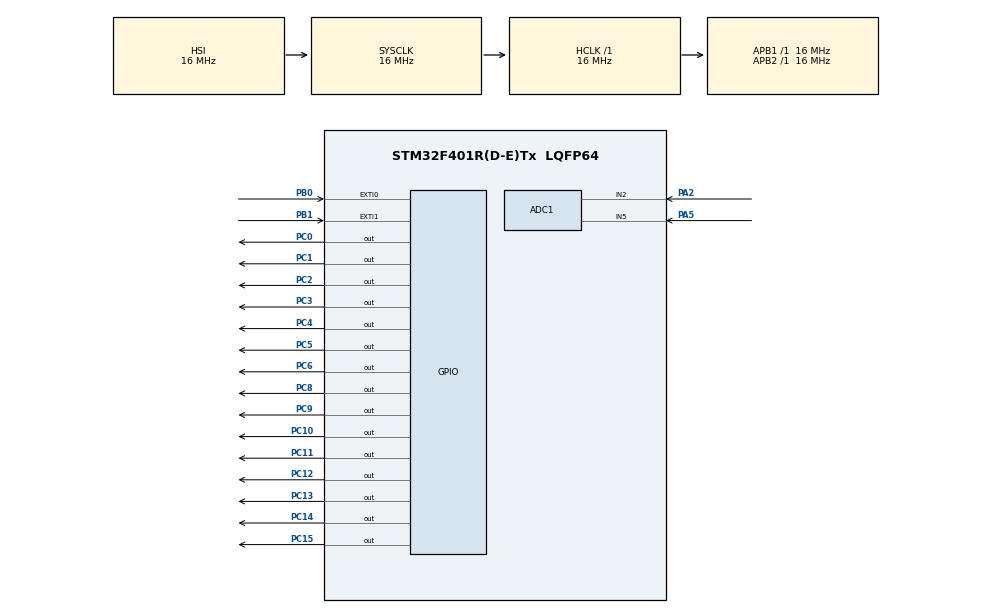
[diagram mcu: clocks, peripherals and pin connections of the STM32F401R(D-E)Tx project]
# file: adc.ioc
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ADC1.Channel-0\#ChannelRegularConversion=ADC_CHANNEL_2
ADC1.Channel-1\#ChannelRegularConversion=ADC_CHANNEL_5
ADC1.ContinuousConvMode=ENABLE
ADC1.NbrOfConversion=2
ADC1.NbrOfConversionFlag=1
ADC1.Rank-0\#ChannelRegularConversion=1
ADC1.Rank-1\#ChannelRegularConversion=2
ADC1.SamplingTime-0\#ChannelRegularConversion=ADC_SAMPLETIME_28CYCLES
ADC1.SamplingTime-1\#ChannelRegularConversion=ADC_SAMPLETIME_28CYCLES
ADC1.ScanConvMode=ENABLE
ADC1.master=1
Mcu.Family=STM32F4
Mcu.Name=STM32F401R(D-E)Tx
Mcu.Package=LQFP64
NVIC.EXTI0_IRQn=true\:0\:0\:false\:false\:true\:true\:true
NVIC.EXTI1_IRQn=true\:0\:0\:false\:false\:true\:true\:true
NVIC.PriorityGroup=NVIC_PRIORITYGROUP_4
PA2.Signal=ADCx_IN2
PA5.Signal=ADCx_IN5
PB0.Signal=GPXTI0
PB1.Signal=GPXTI1
PC0.Signal=GPIO_Output
PC1.Signal=GPIO_Output
PC10.Signal=GPIO_Output
PC11.Signal=GPIO_Output
PC12.Signal=GPIO_Output
PC13-ANTI_TAMP.Signal=GPIO_Output
PC14-OSC32_IN.Signal=GPIO_Output
PC15-OSC32_OUT.Signal=GPIO_Output
PC2.Signal=GPIO_Output
PC3.Signal=GPIO_Output
PC4.Signal=GPIO_Output
PC5.Signal=GPIO_Output
PC6.Signal=GPIO_Output
PC7.Signal=EVENTOUT
PC8.Signal=GPIO_Output
PC9.Signal=GPIO_Output
ProjectManager.HeapSize=0x200
ProjectManager.StackSize=0x400
ProjectManager.TargetToolchain=MDK-ARM V5.32
RCC.AHBFreq_Value=16000000
RCC.APB1Freq_Value=16000000
RCC.APB2Freq_Value=16000000
RCC.CortexFreq_Value=16000000
RCC.HSE_VALUE=25000000
RCC.HSI_VALUE=16000000
RCC.LSE_VALUE=32768
RCC.SYSCLKFreq_VALUE=16000000
RCC.VCOOutputFreq_Value=192000000
SH.ADCx_IN2.0=ADC1_IN2,IN2
SH.ADCx_IN5.0=ADC1_IN5,IN5
board=custom

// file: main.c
/* USER CODE BEGIN Header */
/**
  ******************************************************************************
  * @file           : main.c
  * @brief          : Main program body
  ******************************************************************************
  * @attention
  *
  * <h2><center>&copy; Copyright (c) 2021 STMicroelectronics.
  * All rights reserved.</center></h2>
  *
  * This software component is licensed by ST under BSD 3-Clause license,
  * the "License"; You may not use this file except in compliance with the
  * License. You may obtain a copy of the License at:
  *                        opensource.org/licenses/BSD-3-Clause
  *
  ******************************************************************************
  */
/* USER CODE END Header */
#include "main.h"
#include "stdbool.h"
/* USER CODE BEGIN Includes */
#define FLOAT_TO_INT(x) ((x)>=0?(int)((x)+0.5):(int)((x)-0.5))
float c;
int a;
int rank = 1 ;
int inverse = 0;

/* Private includes ----------------------------------------------------------*/
/* USER CODE BEGIN Includes */

/* USER CODE END Includes */

ADC_HandleTypeDef hadc1;

void SystemClock_Config(void);
static void MX_GPIO_Init(void);
static void MX_ADC1_Init(void);

/* USER CODE BEGIN 0 */
void ADC_Select_CH2 (void)
{
 ADC_ChannelConfTypeDef sConfig = {0};
   /* Configure for the selected ADC regular channel its corresponding rank in the sequencer and its sample time.
   */
   sConfig.Channel = ADC_CHANNEL_2;
   sConfig.Rank = 1;
   sConfig.SamplingTime = ADC_SAMPLETIME_28CYCLES;
   if (HAL_ADC_ConfigChannel(&hadc1, &sConfig) != HAL_OK)
   {
     Error_Handler();
   }

    HAL_ADC_Init(&hadc1);
}

void ADC_Select_CH5 (void)
{
 ADC_ChannelConfTypeDef sConfig = {0};
   /* Configure for the selected ADC regular channel its corresponding rank in the sequencer and its sample time.
   */
   sConfig.Channel = ADC_CHANNEL_5;
   sConfig.Rank = 1;
   sConfig.SamplingTime = ADC_SAMPLETIME_84CYCLES;
   if (HAL_ADC_ConfigChannel(&hadc1, &sConfig) != HAL_OK)
   {
     Error_Handler();
   }

    HAL_ADC_Init(&hadc1);
}

void HAL_GPIO_EXTI_Callback(uint16_t GPIO_Pin)
{
	if(HAL_GPIO_ReadPin(GPIOB, GPIO_PIN_0) == GPIO_PIN_SET)  //button 1 is pressed
	{
		if(rank == 1)
			rank = 2;
		else
			rank = 1;
		//HAL_Delay(10); //debounce time
	}
	if(HAL_GPIO_ReadPin(GPIOB, GPIO_PIN_1) == GPIO_PIN_SET)  //button 2 is pressed
	{
		if(inverse == 1)
			inverse = 2;
		else
			inverse = 1;
	}

}
/* USER CODE END 0 */

int main(void)
{
  HAL_Init();
  SystemClock_Config();
  MX_GPIO_Init();
  MX_ADC1_Init();

  while (1)
  {
		if(rank == 1)
		{
			ADC_Select_CH2();
		}

		else
		{
			ADC_Select_CH5();
		}

		HAL_ADC_Start(&hadc1);

		if(HAL_ADC_PollForConversion(&hadc1, 10) == HAL_OK)
		{
			c = HAL_ADC_GetValue(&hadc1);
			c = c*5 / 4097;
			c=c*1000;
			a = (int)c;
			if(inverse == 1)
				c=0-c;

			GPIOC->ODR |= (int)(c);
		}
		HAL_ADC_Stop(&hadc1);
		GPIOC->ODR &= 0;
  }

}

void SystemClock_Config(void)
{
  RCC_OscInitTypeDef RCC_OscInitStruct = {0};
  RCC_ClkInitTypeDef RCC_ClkInitStruct = {0};

  /** Configure the main internal regulator output voltage
  */
  __HAL_RCC_PWR_CLK_ENABLE();
  __HAL_PWR_VOLTAGESCALING_CONFIG(PWR_REGULATOR_VOLTAGE_SCALE2);
  /** Initializes the RCC Oscillators according to the specified parameters
  * in the RCC_OscInitTypeDef structure.
  */
  RCC_OscInitStruct.OscillatorType = RCC_OSCILLATORTYPE_HSI;
  RCC_OscInitStruct.HSIState = RCC_HSI_ON;
  RCC_OscInitStruct.HSICalibrationValue = RCC_HSICALIBRATION_DEFAULT;
  RCC_OscInitStruct.PLL.PLLState = RCC_PLL_NONE;
  if (HAL_RCC_OscConfig(&RCC_OscInitStruct) != HAL_OK)
  {
    Error_Handler();
  }
  /** Initializes the CPU, AHB and APB buses clocks
  */
  RCC_ClkInitStruct.ClockType = RCC_CLOCKTYPE_HCLK|RCC_CLOCKTYPE_SYSCLK
                              |RCC_CLOCKTYPE_PCLK1|RCC_CLOCKTYPE_PCLK2;
  RCC_ClkInitStruct.SYSCLKSource = RCC_SYSCLKSOURCE_HSI;
  RCC_ClkInitStruct.AHBCLKDivider = RCC_SYSCLK_DIV1;
  RCC_ClkInitStruct.APB1CLKDivider = RCC_HCLK_DIV1;
  RCC_ClkInitStruct.APB2CLKDivider = RCC_HCLK_DIV1;

  if (HAL_RCC_ClockConfig(&RCC_ClkInitStruct, FLASH_LATENCY_0) != HAL_OK)
  {
    Error_Handler();
  }
}

static void MX_ADC1_Init(void)
{

  ADC_ChannelConfTypeDef sConfig = {0};

  /** Configure the global features of the ADC (Clock, Resolution, Data Alignment and number of conversion)
  */
  hadc1.Instance = ADC1;
  hadc1.Init.ClockPrescaler = ADC_CLOCK_SYNC_PCLK_DIV2;
  hadc1.Init.Resolution = ADC_RESOLUTION_12B;
  hadc1.Init.ScanConvMode = ENABLE;
  hadc1.Init.ContinuousConvMode = ENABLE;
  hadc1.Init.DiscontinuousConvMode = DISABLE;
  hadc1.Init.ExternalTrigConvEdge = ADC_EXTERNALTRIGCONVEDGE_NONE;
  hadc1.Init.ExternalTrigConv = ADC_SOFTWARE_START;
  hadc1.Init.DataAlign = ADC_DATAALIGN_RIGHT;
  hadc1.Init.NbrOfConversion = 2;
  hadc1.Init.DMAContinuousRequests = DISABLE;
  hadc1.Init.EOCSelection = ADC_EOC_SINGLE_CONV;
  if (HAL_ADC_Init(&hadc1) != HAL_OK)
  {
    Error_Handler();
  }
  /** Configure for the selected ADC regular channel its corresponding rank in the sequencer and its sample time.
  */
  sConfig.Channel = ADC_CHANNEL_2;
  sConfig.Rank = 1;
  sConfig.SamplingTime = ADC_SAMPLETIME_28CYCLES;
  if (HAL_ADC_ConfigChannel(&hadc1, &sConfig) != HAL_OK)
  {
    Error_Handler();
  }
  /** Configure for the selected ADC regular channel its corresponding rank in the sequencer and its sample time.
  */
  sConfig.Channel = ADC_CHANNEL_5;
  sConfig.Rank = 2;
  if (HAL_ADC_ConfigChannel(&hadc1, &sConfig) != HAL_OK)
  {
    Error_Handler();
  }

}

static void MX_GPIO_Init(void)
{
  GPIO_InitTypeDef GPIO_InitStruct = {0};

  /* GPIO Ports Clock Enable */
  __HAL_RCC_GPIOC_CLK_ENABLE();
  __HAL_RCC_GPIOA_CLK_ENABLE();
  __HAL_RCC_GPIOB_CLK_ENABLE();

  /*Configure GPIO pin Output Level */
  HAL_GPIO_WritePin(GPIOC, GPIO_PIN_13|GPIO_PIN_14|GPIO_PIN_15|GPIO_PIN_0
                          |GPIO_PIN_1|GPIO_PIN_2|GPIO_PIN_3|GPIO_PIN_4
                          |GPIO_PIN_5|GPIO_PIN_6|GPIO_PIN_8|GPIO_PIN_9
                          |GPIO_PIN_10|GPIO_PIN_11|GPIO_PIN_12, GPIO_PIN_RESET);

  /*Configure GPIO pins : PC13 PC14 PC15 PC0
                           PC1 PC2 PC3 PC4
                           PC5 PC6 PC8 PC9
                           PC10 PC11 PC12 */
  GPIO_InitStruct.Pin = GPIO_PIN_13|GPIO_PIN_14|GPIO_PIN_15|GPIO_PIN_0
                          |GPIO_PIN_1|GPIO_PIN_2|GPIO_PIN_3|GPIO_PIN_4
                          |GPIO_PIN_5|GPIO_PIN_6|GPIO_PIN_8|GPIO_PIN_9
                          |GPIO_PIN_10|GPIO_PIN_11|GPIO_PIN_12;
  GPIO_InitStruct.Mode = GPIO_MODE_OUTPUT_PP;
  GPIO_InitStruct.Pull = GPIO_NOPULL;
  GPIO_InitStruct.Speed = GPIO_SPEED_FREQ_LOW;
  HAL_GPIO_Init(GPIOC, &GPIO_InitStruct);

  /*Configure GPIO pins : PB0 PB1 */
  GPIO_InitStruct.Pin = GPIO_PIN_0|GPIO_PIN_1;
  GPIO_InitStruct.Mode = GPIO_MODE_IT_RISING;
  GPIO_InitStruct.Pull = GPIO_NOPULL;
  HAL_GPIO_Init(GPIOB, &GPIO_InitStruct);

  /*Configure GPIO pin : PC7 */
  GPIO_InitStruct.Pin = GPIO_PIN_7;
  GPIO_InitStruct.Mode = GPIO_MODE_AF_PP;
  GPIO_InitStruct.Pull = GPIO_NOPULL;
  GPIO_InitStruct.Speed = GPIO_SPEED_FREQ_LOW;
  GPIO_InitStruct.Alternate = GPIO_AF15_EVENTOUT;
  HAL_GPIO_Init(GPIOC, &GPIO_InitStruct);

  /* EXTI interrupt init*/
  HAL_NVIC_SetPriority(EXTI0_IRQn, 0, 0);
  HAL_NVIC_EnableIRQ(EXTI0_IRQn);

  HAL_NVIC_SetPriority(EXTI1_IRQn, 0, 0);
  HAL_NVIC_EnableIRQ(EXTI1_IRQn);

}

void Error_Handler(void)
{
  __disable_irq();
  while (1)
  {
  }
}

/************************ (C) COPYRIGHT STMicroelectronics *****END OF FILE****/
